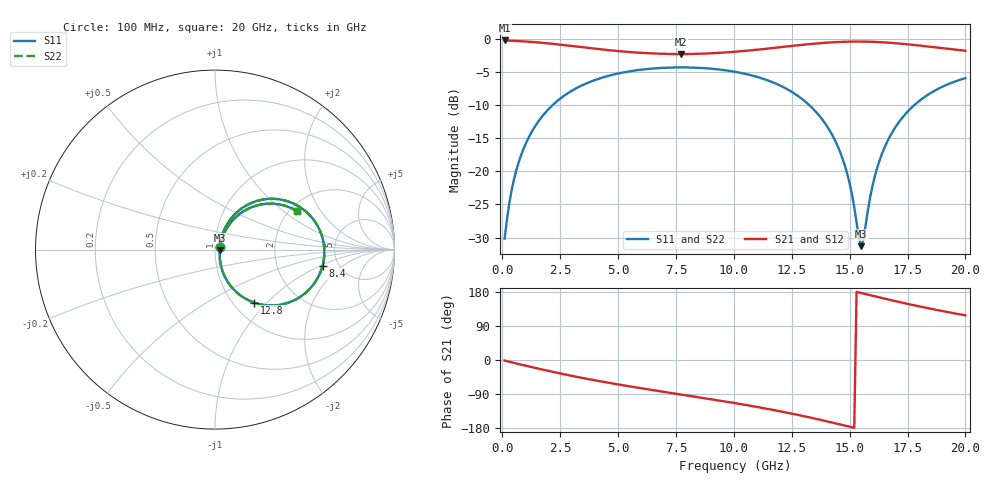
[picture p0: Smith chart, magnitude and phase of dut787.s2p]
! Touchstone file exported from HFSS 2026.1.0
!  File:  C:/ffzhzh/LocalFiles/Ansys_Project_Files/temp_train_TSV_RDL_787_1783260807_39728.aedt
!  Generated:  10:24:44 PM Jul  5, 2026
!  Design:  TSV_RDL
!  Project:  temp_train_TSV_RDL_787_1783260807_39728
! Variables:
!  h_bsmrdl = 2.54um
!  h_ox = 20um
!  h_rdl = 5um
!  h_sub = 64.47um
!  h_tmrdl = 2.55um
!  h_tsv = 64.47um
!  h_via = 3um
!  l_bsmrdl = 410.96um
!  l_sub = 4106.07um
!  l_tmrdl = 586.01um
!  m_sub = 200um
!  pitch = 56.81um
!  r_tsv = 5.56um
!  s_tmrdl = 10um
!  w_bsmrdl = 13.37um
!  w_sub = 500um
!  w_tmrdl = 29.68um
!  x_tsv_center1 = 600.85um
!  x_tsv_center2 = 1025.18um
!  x_tsv_center3 = 1640.87um
!  x_tsv_center4 = 2065.2um
!  x_tsv_center5 = 2680.89um
!  x_tsv_center6 = 3105.22um
# GHz S MA R 50.000000
! Terminal data exported
! Port[1] = TM_RDL1_1_T1
! Port[2] = TM_RDL5_1_T1
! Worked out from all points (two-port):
!   200 points, 100 MHz to 20 GHz, reference 50 ohm
!   highest |S21| = -0.23 dB at 100 MHz (marker M1); lowest = -2.3 dB at 7.7 GHz (marker M2)
!   |S21| within 3 dB of the highest: start of sweep to end of sweep
!   lowest |S11| = -31.3 dB at 15.5 GHz (marker M3), VSWR 1.06, Z = 52.8 - j0.324 ohm
!   |S11| at or under -10 dB: start of sweep to 2.171 GHz; 13.26 GHz to 17.79 GHz (4.532 GHz wide, 29.2 % of centre)
!   |S22| runs from -31.4 to -4.3 dB; largest |S21 - S12| = 1.7e-14
!   S11 on the Smith chart (normalised r, x): 100 MHz: 1.05, +0.03; 8.4 GHz: 3.74, -1.08; 12.8 GHz: 1.24, -0.85; 20 GHz: 2.20, +1.26
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0.1  0.03104 31.9  0.9739 -1.6  0.9739 -1.6  0.03104 31.9
! Gamma 0 0 0 0
! Port Impedance 50 0 50 0
0.3  0.05703 56.7  0.9715 -4.6  0.9715 -4.6  0.05703 56.7
0.5  0.08635 63.1  0.9678 -7.6  0.9678 -7.6  0.08635 63.1
1.2  0.1887 63.0  0.9513 -17.8  0.9513 -17.8  0.1887 63.0
2.2  0.3198 53.0  0.9171 -31.6  0.9171 -31.6  0.3198 53.0
3.5  0.451 38.5  0.8638 -47.9  0.8638 -47.9  0.451 38.5
5.2  0.5573 21.0  0.8042 -66.6  0.8042 -66.6  0.5572 21.0
6.8  0.603 5.9  0.7735 -82.3  0.7735 -82.3  0.603 5.9
7.7  0.6096 -2.3  0.769 -90.9  0.769 -90.9  0.6096 -2.3
8.4  0.6059 -8.7  0.772 -97.5  0.772 -97.5  0.6059 -8.7
10.1  0.5626 -24.7  0.8017 -114.3  0.8017 -114.3  0.5626 -24.7
11.6  0.4766 -40.1  0.8505 -130.6  0.8505 -130.6  0.4766 -40.1
12.8  0.368 -53.5  0.8968 -145.3  0.8968 -145.3  0.3679 -53.5
13.4  0.2995 -60.2  0.9185 -153.3  0.9185 -153.3  0.2994 -60.3
14.1  0.2087 -67.4  0.9393 -163.0  0.9393 -163.0  0.2086 -67.5
14.7  0.1241 -70.7  0.951 -171.6  0.951 -171.6  0.124 -70.8
15.1  0.06713 -65.1  0.9549 -177.5  0.9549 -177.5  0.06698 -65.4
15.5  0.02723 -6.5  0.9554 176.7  0.9554 176.7  0.02691 -6.5
16.1  0.09345 59.7  0.9496 167.9  0.9496 167.9  0.09338 59.9
16.7  0.1779 59.4  0.9367 159.2  0.9367 159.2  0.1779 59.5
18  0.3394 46.4  0.892 141.6  0.892 141.6  0.3394 46.5
20  0.5059 24.9  0.8149 117.8  0.8149 117.8  0.5059 25.0
